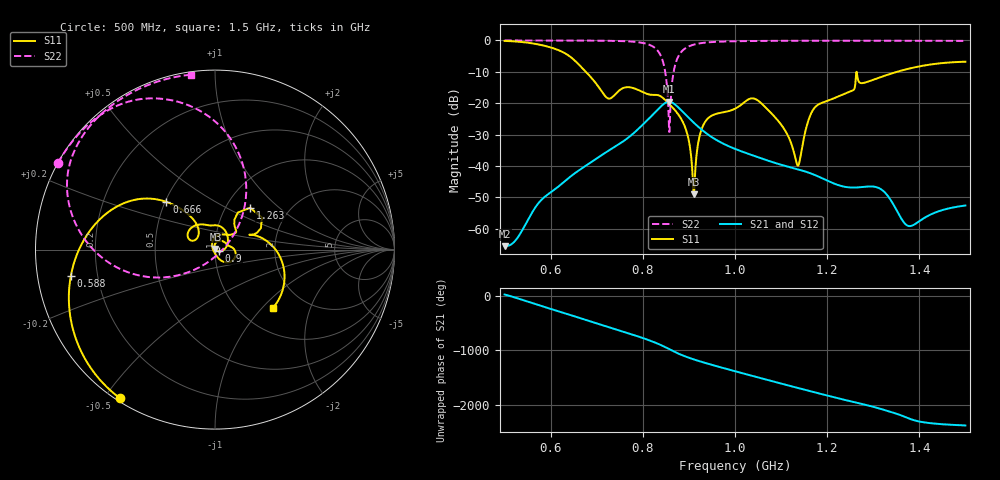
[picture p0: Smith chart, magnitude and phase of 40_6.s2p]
! TOUCHSTONE file generated by CST MICROWAVE STUDIO
! Date and time: Fri Oct  2 19:01:56 2020
! Project name: Scenario_1_Free_Space_out_of_line.cst
! Parameters = {Lambda=346.42; Step_1=17.321; dy1=-328.659; dx1=1039; L_HA=400; MT=2.54; Rad_Dielectric=30; Rad_Lower=7.3; Rad_Upper=30; a_HA=580; a_WG=246; b_HA=500; b_WG=121; c_HA=0; c_WG=187; d_feed=85; h_feed=15; h_lower=18; h_upper=40}
! Header version: 2018
! Port assignment regex: !\s*Touchstone port\s*([0-9]+)\s*=\s*(CST MWS port|CST DS port)\s*([0-9]+|Zmin|Zmax)\s*\(\"(.*)\"\)(\s*mode\s*([0-9]+))?.*
! Touchstone port assignment:
! Touchstone port 1 = CST MWS port 1 ("")
! Touchstone port 2 = CST MWS port 2 ("")
# GHz S DB R 50
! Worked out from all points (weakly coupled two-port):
!   1003 points, 500 MHz to 1.5 GHz, reference 50 ohm
!   highest |S21| = -19.56 dB at 857 MHz (marker M1); lowest = -65.6 dB at 501 MHz (marker M2)
!   lowest |S11| = -49.1 dB at 911 MHz (marker M3), VSWR 1.01, Z = 50.2 + j0.284 ohm
!   |S11| at or under -10 dB: 676.3 MHz to 1.264 GHz (587.7 MHz wide, 60.6 % of centre); 1.264 GHz to 1.352 GHz (87.71 MHz wide, 6.71 % of centre)
!   |S22| runs from -29.1 to 0.0 dB; largest |S21 - S12| = 5.9e-05
!   S11 on the Smith chart (normalised r, x): 500 MHz: 0.01, -0.55; 588 MHz: 0.10, -0.09; 666 MHz: 0.51, +0.32; 900 MHz: 1.05, -0.02; 1.263 GHz: 1.29, +0.66; 1.5 GHz: 1.41, -1.15
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0.5  -0.15 -122.5  -65.58 29.2  -65.58 29.2  -0.01 151.1
0.501  -0.15 -122.9  -65.59 27.1  -65.59 27.0  -0.01 151.1
0.588  -1.76 -169.6  -49.75 156.2  -49.67 156.8  -0.02 145.0
0.666  -8.43 135.5  -40.96 -51.8  -40.96 -51.8  -0.04 138.4
0.667  -8.58 135.1  -40.86 -54.5  -40.86 -54.5  -0.04 138.3
0.724  -18.45 142.1  -35.29 152.4  -35.29 152.4  -0.11 131.6
0.79  -15.79 120.3  -28.24 -24.3  -28.24 -24.3  -0.57 116.6
0.834  -17.49 79.3  -21.82 -162.9  -21.82 -162.9  -3.61 85.1
0.846  -18.63 59.4  -20.18 150.2  -20.18 150.2  -8.11 63.7
0.857  -20.21 43.2  -19.56 102.1  -19.55 102.1  -29.11 -14.0
0.873  -22.83 20.6  -20.81 34.7  -20.81 34.7  -6.45 -163.4
0.9  -32.09 -21.8  -24.72 -56.6  -24.72 -56.6  -1.88 167.9
0.911  -49.06 53.4  -26.29 -88.5  -26.29 -88.5  -1.31 161.8
0.935  -25.99 69.8  -29.30 -151.7  -29.30 -151.7  -0.70 152.8
1  -21.77 14.1  -34.57 54.5  -34.57 54.5  -0.26 140.1
1.055  -19.76 -43.7  -37.49 -71.2  -37.49 -71.2  -0.16 133.8
1.136  -39.87 -150.0  -41.06 106.6  -41.06 106.6  -0.10 126.6
1.167  -22.72 85.7  -42.54 38.3  -42.54 38.3  -0.09 124.1
1.263  -10.33 49.9  -46.88 -164.6  -46.88 -164.5  -0.08 116.8
1.334  -10.80 10.2  -50.03 34.0  -49.98 34.3  -0.09 111.4
1.379  -8.94 -4.6  -59.20 -102.2  -59.18 -100.7  -0.10 107.9
1.5  -6.78 -45.0  -52.62 134.2  -52.46 133.3  -0.14 97.8
